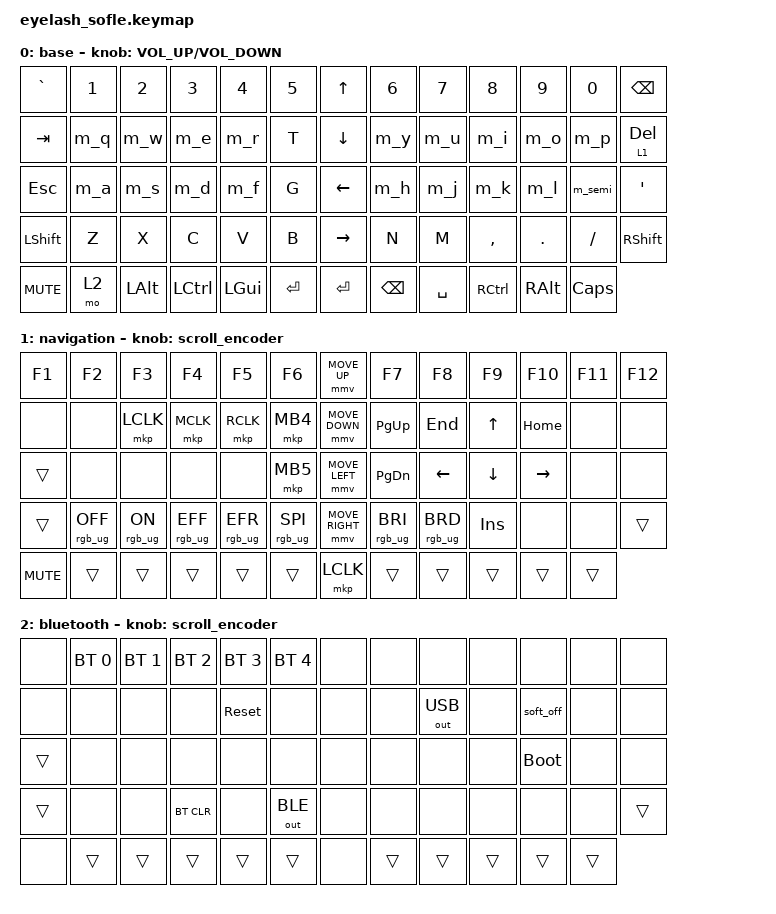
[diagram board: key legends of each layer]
#define ZMK_POINTING_DEFAULT_MOVE_VAL 1200  // 600
#define ZMK_POINTING_DEFAULT_SCRL_VAL 25   // 10

#include <input/processors.dtsi>
#include <zephyr/dt-bindings/input/input-event-codes.h>
#include <behaviors.dtsi>
#include <dt-bindings/zmk/bt.h>
#include <dt-bindings/zmk/keys.h>
#include <dt-bindings/zmk/outputs.h>
#include <dt-bindings/zmk/pointing.h>
#include <dt-bindings/zmk/rgb.h>

&mmv_input_listener { input-processors = <&zip_xy_scaler 2 1>; };

&msc_input_listener { input-processors = <&zip_scroll_scaler 2 1>; };

&msc {
    acceleration-exponent = <1>;      // 0
    time-to-max-speed-ms = <100>;       // 300
    delay-ms = <0>;                   // 0
};

&mmv {
    time-to-max-speed-ms = <500>;
    acceleration-exponent = <1>;
    trigger-period-ms = <16>;
};

&soft_off { hold-time-ms = <2000>; };

/ {
    scroll_encoder: scroll_encoder {
        compatible = "zmk,behavior-sensor-rotate";
        #sensor-binding-cells = <0>;
        bindings = <&msc SCRL_DOWN>, <&msc SCRL_UP>;

        tap-ms = <100>;
    };

    behaviors {
        kht: key_hold_tap {
            compatible = "zmk,behavior-hold-tap";
            #binding-cells = <2>;
            flavor = "tap-preferred";
            tapping-term-ms = <200>;
            require-prior-idle-ms = <150>;
            quick-tap-ms = <0>;
            bindings = <&kp>, <&kp>;
        };

        #define ZMK_MORPH_KHT(NAME, HOLD, TAP) \
            NAME: NAME { \
                compatible = "zmk,behavior-mod-morph"; \
                #binding-cells = <0>; \
                bindings = <&kht HOLD TAP>, <&kp TAP>; \
                mods = <(MOD_LSFT|MOD_RSFT)>; \
                keep-mods = <(MOD_LSFT|MOD_RSFT)>; \
            };

        ZMK_MORPH_KHT(m_q, LT, Q)
        ZMK_MORPH_KHT(m_w, GT, W)
        ZMK_MORPH_KHT(m_e, LBKT, E)
        ZMK_MORPH_KHT(m_r, RBKT, R)
        ZMK_MORPH_KHT(m_y, TILDE, Y)
        ZMK_MORPH_KHT(m_u, UNDER, U)
        ZMK_MORPH_KHT(m_i, PLUS, I)
        ZMK_MORPH_KHT(m_o, STAR, O)
        ZMK_MORPH_KHT(m_p, PIPE, P)

        ZMK_MORPH_KHT(m_a, LPAR, A)
        ZMK_MORPH_KHT(m_s, RPAR, S)
        ZMK_MORPH_KHT(m_d, LBRC, D)
        ZMK_MORPH_KHT(m_f, RBRC, F)
        ZMK_MORPH_KHT(m_h, GRAVE, H)
        ZMK_MORPH_KHT(m_j, EQUAL, J)
        ZMK_MORPH_KHT(m_k, MINUS, K)
        ZMK_MORPH_KHT(m_l, SLASH, L)
        ZMK_MORPH_KHT(m_semi, BSLH, SEMI)
    };

    combos {
        compatible = "zmk,combos";

        softoff {
            bindings = <&soft_off>;
            key-positions = <14 27 40>;
        };
    };

    keymap {
        compatible = "zmk,keymap";

        layer0 {
            bindings = <
&kp GRAVE  &kp N1    &kp N2       &kp N3       &kp N4      &kp N5      &kp UP_ARROW      &kp N6     &kp N7     &kp N8     &kp N9    &kp N0       &kp BSPC
&kp TAB    &m_q      &m_w         &m_e         &m_r        &kp T       &kp DOWN_ARROW    &m_y       &m_u       &m_i        &m_o       &m_p             &lt 1 DEL
&kp ESC    &m_a      &m_s         &m_d         &m_f        &kp G       &kp LEFT_ARROW    &m_h       &m_j       &m_k        &m_l       &m_semi          &kp APOS
&kp LSHFT  &kp Z     &kp X        &kp C        &kp V       &kp B       &kp RIGHT_ARROW   &kp N      &kp M      &kp COMMA  &kp DOT   &kp FSLH     &kp RSHFT
&kp C_MUTE &mo 2     &kp LALT     &kp LCTRL    &kp LGUI    &kp ENTER   &kp ENTER         &kp BSPC  &kp SPACE  &kp RCTRL  &kp RALT  &kp CAPS
            >;

            sensor-bindings = <&inc_dec_kp C_VOLUME_UP C_VOLUME_DOWN>;
            display-name = "base";
        };

        layer_1 {
            bindings = <
&kp F1      &kp F2           &kp F3          &kp F4           &kp F5           &kp F6           &mmv MOVE_UP      &kp F7           &kp F8           &kp F9      &kp F10   &kp F11   &kp F12
&none       &none            &mkp LCLK       &mkp MCLK        &mkp RCLK        &mkp MB4         &mmv MOVE_DOWN    &kp PG_UP        &kp END          &kp UP      &kp HOME  &none     &none
&trans      &none            &none           &none            &none            &mkp MB5         &mmv MOVE_LEFT    &kp PG_DN        &kp LEFT         &kp DOWN    &kp RIGHT &none     &none
&trans      &rgb_ug RGB_OFF  &rgb_ug RGB_ON  &rgb_ug RGB_EFF  &rgb_ug RGB_EFR  &rgb_ug RGB_SPI  &mmv MOVE_RIGHT   &rgb_ug RGB_BRI  &rgb_ug RGB_BRD  &kp INSERT  &none     &none     &trans
&kp C_MUTE  &trans           &trans          &trans           &trans           &trans           &mkp LCLK         &trans           &trans           &trans      &trans    &trans
            >;

            display-name = "navigation";
            sensor-bindings = <&scroll_encoder>;
        };

        layer_2 {
            bindings = <
&none   &bt BT_SEL 0    &bt BT_SEL 1  &bt BT_SEL 2  &bt BT_SEL 3  &bt BT_SEL 4  &none  &none  &none         &none  &none        &none  &none
&none   &none           &none         &none         &sys_reset    &none         &none  &none  &out OUT_USB  &none  &soft_off    &none  &none
&trans  &none           &none         &none         &none         &none         &none  &none  &none         &none  &bootloader  &none  &none
&trans  &none           &none         &bt BT_CLR    &none         &out OUT_BLE  &none  &none  &none         &none  &none        &none  &trans
&none   &trans          &trans        &trans        &trans        &trans        &none  &trans &trans        &trans &trans       &trans
            >;

            display-name = "bluetooth";
            sensor-bindings = <&scroll_encoder>;
        };
    };
};
